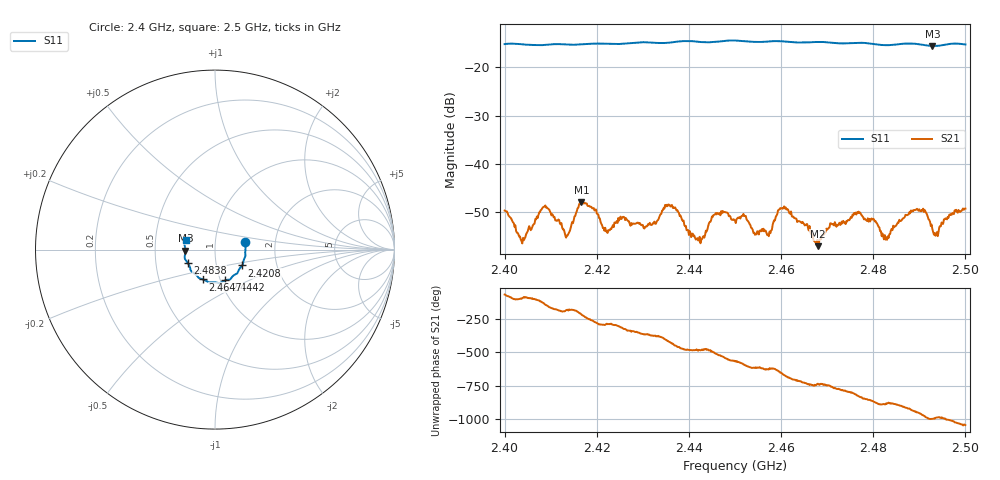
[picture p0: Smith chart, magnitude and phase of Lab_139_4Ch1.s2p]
# Hz S RI R 50
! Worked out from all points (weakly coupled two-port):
!   601 points, 2.4 GHz to 2.5 GHz, reference 50 ohm
!   highest |S21| = -47.83 dB at 2.4167 GHz (marker M1); lowest = -57.0 dB at 2.468 GHz (marker M2)
!   lowest |S11| = -15.6 dB at 2.4928 GHz (marker M3), VSWR 1.40, Z = 35.8 - j0.388 ohm
!   |S11| at or under -10 dB: start of sweep to end of sweep
!   S12 and S22 are empty: the file has one direction only
!   S11 on the Smith chart (normalised r, x): 2.4 GHz: 1.40, +0.12; 2.4208 GHz: 1.33, -0.24; 2.4442 GHz: 1.05, -0.37; 2.4647 GHz: 0.83, -0.29; 2.4838 GHz: 0.73, -0.11; 2.5 GHz: 0.72, +0.08
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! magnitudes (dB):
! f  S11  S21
! 2.4 GHz  -15.2  -49.6
! 2.404 GHz  -15.3  -55.2
! 2.4087 GHz  -15.4  -48.8
! 2.4137 GHz  -15.3  -54.7
! 2.4167 GHz  -15.3  -47.8
! 2.4208 GHz  -15.1  -52.0
! 2.4333 GHz  -15.0  -51.5
! 2.4358 GHz  -14.9  -48.6
! 2.442 GHz  -14.8  -55.8
! 2.4442 GHz  -14.9  -52.8
! 2.45 GHz  -14.5  -51.6
! 2.4573 GHz  -14.7  -54.9
! 2.4605 GHz  -14.7  -49.1
! 2.4647 GHz  -14.9  -51.9
! 2.4667 GHz  -14.8  -54.6
! 2.468 GHz  -14.8  -57.0
! 2.4767 GHz  -15.0  -50.1
! 2.4833 GHz  -15.5  -55.3
! 2.4838 GHz  -15.4  -53.7
! 2.4895 GHz  -15.2  -49.2
! 2.4928 GHz  -15.6  -53.4
! 2.5 GHz  -15.3  -49.2
